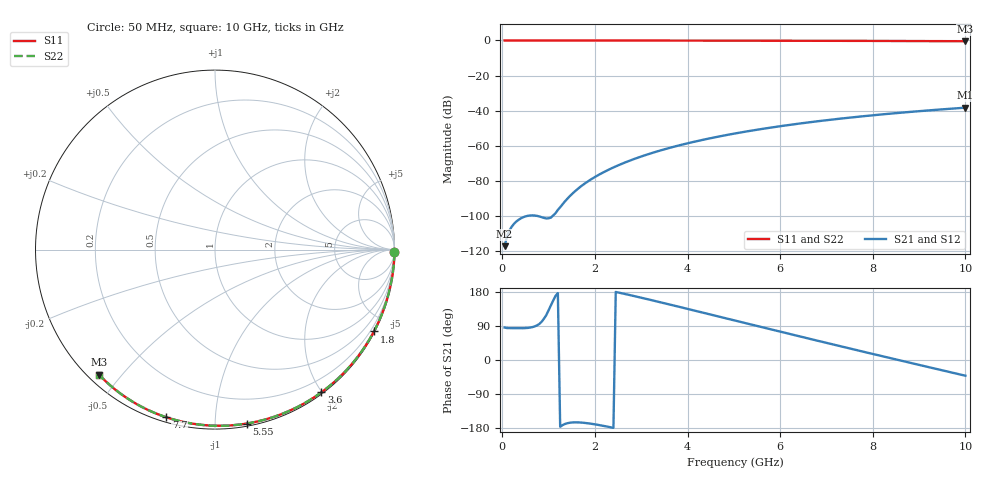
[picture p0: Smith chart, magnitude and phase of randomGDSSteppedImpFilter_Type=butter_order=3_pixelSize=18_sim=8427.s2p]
! freq	dB(S11)	phase(S11)	dB(S12)	phase(S12)
!  dB(S21)	phase(S21)	dB(S22)	phase(S22)
!S-par simulation data
#  GHz  S  DB  R 50
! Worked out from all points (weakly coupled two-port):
!   200 points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, 50 MHz to 10 GHz, reference 50 ohm
!   highest |S21| = -38.33 dB at 10 GHz (marker M1); lowest = -117.3 dB at 50 MHz (marker M2)
!   lowest |S11| = -0.4 dB at 10 GHz (marker M3), VSWR 39.19, Z = 1.52 - j21.8 ohm
!   |S11| at or under -10 dB: nowhere
!   |S22| runs from -0.4 to 0.0 dB; largest |S21 - S12| = 0
!   S11 on the Smith chart (normalised r, x): 50 MHz: open; 1.8 GHz: 0.04, -4.12; 3.6 GHz: 0.02, -1.99; 5.55 GHz: 0.02, -1.20; 7.7 GHz: 0.02, -0.75; 10 GHz: 0.03, -0.44
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0.05  -0.00 -0.8  -117.31 85.6  -117.31 85.6  -0.00 -0.8
0.9  -0.02 -13.8  -101.20 109.1  -101.20 109.1  -0.02 -13.8
1.75  -0.03 -26.5  -82.18 -165.6  -82.18 -165.6  -0.03 -26.5
1.8  -0.03 -27.3  -81.24 -166.2  -81.24 -166.2  -0.03 -27.3
1.85  -0.04 -28.0  -80.35 -167.0  -80.35 -167.0  -0.04 -28.0
1.9  -0.04 -28.7  -79.49 -167.8  -79.49 -167.8  -0.04 -28.8
2.05  -0.04 -31.0  -77.10 -170.8  -77.10 -170.8  -0.04 -31.0
2.25  -0.04 -33.9  -74.29 -175.4  -74.29 -175.4  -0.04 -33.9
2.45  -0.05 -36.8  -71.81 179.6  -71.81 179.6  -0.05 -36.9
2.65  -0.05 -39.7  -69.58 174.2  -69.58 174.2  -0.05 -39.8
3  -0.06 -44.8  -66.17 164.4  -66.17 164.4  -0.06 -44.8
3.4  -0.07 -50.5  -62.83 152.8  -62.83 152.8  -0.07 -50.5
3.6  -0.07 -53.3  -61.34 146.9  -61.34 146.9  -0.07 -53.3
4.3  -0.09 -63.0  -56.84 125.9  -56.84 125.9  -0.09 -63.0
5.05  -0.11 -73.0  -52.92 103.4  -52.92 103.4  -0.11 -73.1
5.55  -0.13 -79.6  -50.69 88.3  -50.69 88.3  -0.13 -79.6
6.1  -0.15 -86.6  -48.53 71.9  -48.53 71.9  -0.15 -86.6
6.7  -0.18 -94.1  -46.43 54.1  -46.43 54.1  -0.18 -94.1
7.7  -0.24 -106.2  -43.46 24.7  -43.46 24.7  -0.24 -106.3
8.35  -0.29 -113.8  -41.80 5.8  -41.80 5.8  -0.29 -113.9
9.15  -0.36 -123.1  -40.00 -17.2  -40.00 -17.2  -0.36 -123.2
10  -0.44 -132.8  -38.33 -41.5  -38.33 -41.5  -0.44 -132.9
